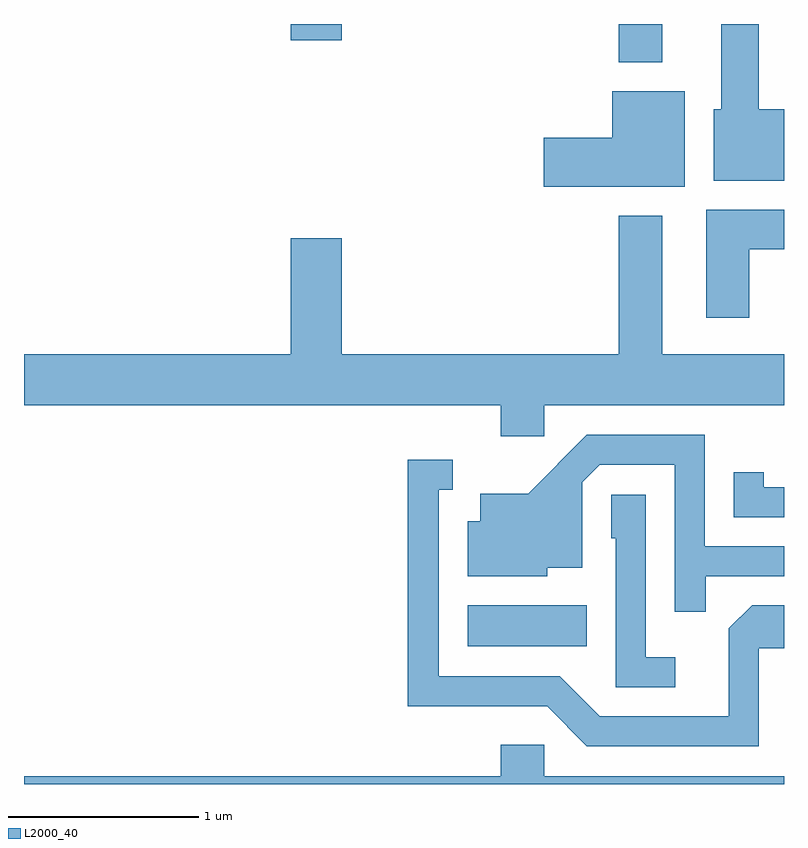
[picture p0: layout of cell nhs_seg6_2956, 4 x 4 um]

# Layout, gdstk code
import gdstk
lib = gdstk.Library(unit=1e-6, precision=1e-09)
def R(c, l, rs):  # rectangles x0, y0, x1, y1
    for r in rs: c.add(gdstk.rectangle(r[:2], r[2:], *l))
def P(c, l, *ps):  # polygons
    for p in ps: c.add(gdstk.Polygon(p, *l))
L2000_40 = (2000, 40)

nhs_seg6_2956 = lib.new_cell('nhs_seg6_2956')
R(nhs_seg6_2956, L2000_40, [(275.946,1650.886,276.574,1651.104), (276.741,1653.961,276.969,1654.162), (275.016,1654.076,275.284,1654.162)])
P(nhs_seg6_2956, L2000_40, [(277.611,1653.714),(277.479,1653.714),(277.479,1654.162),(277.281,1654.162),(277.281,1653.714),(277.241,1653.714),(277.241,1653.336),(277.611,1653.336)],
  [(277.089,1653.809),(276.706,1653.809),(276.706,1653.564),(276.346,1653.564),(276.346,1653.306),(277.089,1653.306)],
  [(277.429,1652.976),(277.611,1652.976),(277.611,1653.184),(277.201,1653.184),(277.201,1652.616),(277.429,1652.616)],
  [(276.349,1652.156),(277.611,1652.156),(277.611,1652.424),(276.969,1652.424),(276.969,1653.154),(276.741,1653.154),(276.741,1652.424),(275.284,1652.424),(275.284,1653.034),(275.016,1653.034),(275.016,1652.424),(273.611,1652.424),(273.611,1652.156),(276.121,1652.156),(276.121,1651.991),(276.349,1651.991)],
  [(277.199,1651.256),(277.611,1651.256),(277.611,1651.414),(277.194,1651.414),(277.194,1651.999),(276.574,1651.999),(276.264,1651.689),(276.011,1651.689),(276.011,1651.544),(275.946,1651.544),(275.946,1651.256),(276.364,1651.256),(276.364,1651.301),(276.549,1651.301),(276.549,1651.749),(276.642,1651.841),(277.036,1651.841),(277.036,1651.068),(277.199,1651.068)],
  [(277.479,1650.876),(277.611,1650.876),(277.611,1651.104),(277.444,1651.104),(277.321,1650.982),(277.321,1650.519),(276.642,1650.519),(276.432,1650.729),(275.794,1650.729),(275.794,1651.711),(275.868,1651.711),(275.868,1651.869),(275.631,1651.869),(275.631,1650.571),(276.364,1650.571),(276.574,1650.361),(277.479,1650.361)],
  [(277.611,1651.724),(277.504,1651.724),(277.504,1651.803),(277.346,1651.803),(277.346,1651.566),(277.611,1651.566)],
  [(277.038,1650.829),(276.884,1650.829),(276.884,1651.684),(276.701,1651.684),(276.701,1651.456),(276.726,1651.456),(276.726,1650.671),(277.038,1650.671)],
  [(277.611,1650.204),(276.349,1650.204),(276.349,1650.369),(276.121,1650.369),(276.121,1650.204),(273.611,1650.204),(273.611,1650.162),(277.611,1650.162)])

lib.write_gds('nhs_seg6_2956.gds')
